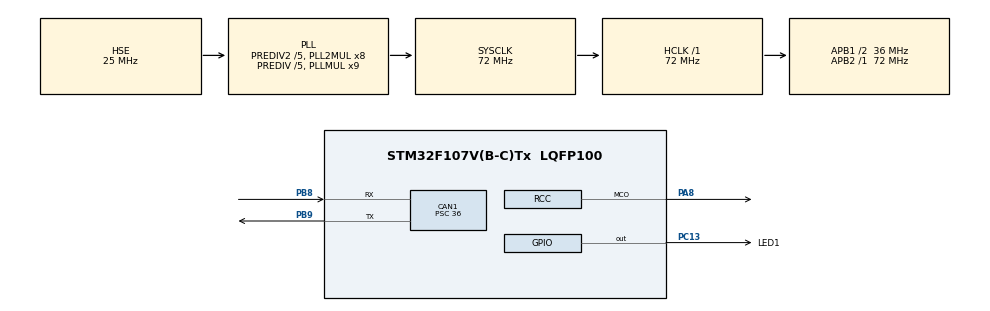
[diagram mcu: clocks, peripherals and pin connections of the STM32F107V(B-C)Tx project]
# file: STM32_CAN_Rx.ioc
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CAN1.BS1=CAN_BS1_6TQ
CAN1.CalculateBaudRate=125000
CAN1.CalculateTimeBit=8000
CAN1.CalculateTimeQuantum=1000.0
CAN1.Prescaler=36
Mcu.Family=STM32F1
Mcu.Name=STM32F107V(B-C)Tx
Mcu.Package=LQFP100
NVIC.CAN1_RX1_IRQn=true\:0\:0\:false\:false\:true\:true\:true\:true
NVIC.PriorityGroup=NVIC_PRIORITYGROUP_4
OSC_IN.Mode=HSE-External-Oscillator
OSC_IN.Signal=RCC_OSC_IN
OSC_OUT.Mode=HSE-External-Oscillator
OSC_OUT.Signal=RCC_OSC_OUT
PA13.Mode=JTAG_5_pins
PA13.Signal=SYS_JTMS-SWDIO
PA14.Mode=JTAG_5_pins
PA14.Signal=SYS_JTCK-SWCLK
PA15.Mode=JTAG_5_pins
PA15.Signal=SYS_JTDI
PA8.GPIO_Speed=GPIO_SPEED_FREQ_MEDIUM
PA8.Mode=Clock-out
PA8.Signal=RCC_MCO
PB3.Mode=JTAG_5_pins
PB3.Signal=SYS_JTDO
PB4.Mode=JTAG_5_pins
PB4.Signal=SYS_NJTRST
PB8.Mode=CAN_Activate
PB8.Signal=CAN1_RX
PB9.Mode=CAN_Activate
PB9.Signal=CAN1_TX
PC13-TAMPER-RTC.GPIO_Label=LED1
PC13-TAMPER-RTC.Signal=GPIO_Output
ProjectManager.HeapSize=0x200
ProjectManager.StackSize=0x400
ProjectManager.TargetToolchain=STM32CubeIDE
RCC.AHBFreq_Value=72000000
RCC.APB1CLKDivider=RCC_HCLK_DIV2
RCC.APB1Freq_Value=36000000
RCC.APB1TimFreq_Value=72000000
RCC.APB2Freq_Value=72000000
RCC.APB2TimFreq_Value=72000000
RCC.HCLKFreq_Value=72000000
RCC.HSEDivPLL=RCC_HSE_PREDIV_DIV5
RCC.HSE_VALUE=25000000
RCC.PLL3Mul=RCC_PLLI2S_MUL10
RCC.PLLMUL=RCC_PLL_MUL9
RCC.PLLSourceVirtual=RCC_PLLSOURCE_HSE
RCC.Prediv1Source=RCC_PREDIV1_SOURCE_PLL2
RCC.Prediv2=RCC_HSE_PREDIV2_DIV5
RCC.RCC_MCOSource=RCC_MCO1SOURCE_PLL3CLK
RCC.SYSCLKFreq_VALUE=72000000
RCC.SYSCLKSource=RCC_SYSCLKSOURCE_PLLCLK
RCC.USBFreq_Value=48000000
board=custom

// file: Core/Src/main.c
/* USER CODE BEGIN Header */
/**
  ******************************************************************************
  * @file           : main.c
  * @brief          : Main program body
  ******************************************************************************
  * @attention
  *
  * Copyright (c) 2024 STMicroelectronics.
  * All rights reserved.
  *
  * This software is licensed under terms that can be found in the LICENSE file
  * in the root directory of this software component.
  * If no LICENSE file comes with this software, it is provided AS-IS.
  *
  ******************************************************************************
  */
/* USER CODE END Header */
#include "main.h"

CAN_HandleTypeDef hcan1;

void SystemClock_Config(void);
static void MX_GPIO_Init(void);
static void MX_CAN1_Init(void);

/* USER CODE BEGIN 0 */
CAN_TxHeaderTypeDef TxHeader;
CAN_RxHeaderTypeDef RxHeader;

uint8_t TxData[8];
uint8_t RxData[8];

uint32_t TxMailbox;

int datacheck = 0;

void HAL_CAN_RxFifo1MsgPendingCallback(CAN_HandleTypeDef *hcan)
{
	HAL_CAN_GetRxMessage(hcan, CAN_RX_FIFO1, &RxHeader, RxData);
	if (RxHeader.DLC == 2)
	{
		datacheck = 1;
	}
}

/* USER CODE END 0 */

int main(void)
{

  /* MCU Configuration--------------------------------------------------------*/

  /* Reset of all peripherals, Initializes the Flash interface and the Systick. */
  HAL_Init();

  /* Configure the system clock */
  SystemClock_Config();

  /* Initialize all configured peripherals */
  MX_GPIO_Init();
  MX_CAN1_Init();
  /* USER CODE BEGIN 2 */

  HAL_CAN_Start(&hcan1);

  // Activate the notification
  HAL_CAN_ActivateNotification(&hcan1, CAN_IT_RX_FIFO1_MSG_PENDING);

  TxHeader.DLC = 2;  // data length
  TxHeader.IDE = CAN_ID_STD;
  TxHeader.RTR = CAN_RTR_DATA;
  TxHeader.StdId = 0x107;  // ID

  TxData[0] = 100;  // ms delay
  TxData[1] = 10;  // loop rep

  /* USER CODE END 2 */

  /* Infinite loop */
  while (1)
  {

    /* USER CODE BEGIN 3 */

	  HAL_Delay (1000);

	  if (datacheck)
	  {
		  // blink the LED
		  for (int i=0; i<RxData[1]; i++)
		  {
			  HAL_GPIO_TogglePin(GPIOC, GPIO_PIN_13);
			  HAL_Delay(RxData[0]);
		  }

		  datacheck = 0;

		  HAL_CAN_AddTxMessage(&hcan1, &TxHeader, TxData, &TxMailbox);

	  }
  }
  /* USER CODE END 3 */
}

void SystemClock_Config(void)
{
  RCC_OscInitTypeDef RCC_OscInitStruct = {0};
  RCC_ClkInitTypeDef RCC_ClkInitStruct = {0};

  /** Initializes the RCC Oscillators according to the specified parameters
  * in the RCC_OscInitTypeDef structure.
  */
  RCC_OscInitStruct.OscillatorType = RCC_OSCILLATORTYPE_HSE;
  RCC_OscInitStruct.HSEState = RCC_HSE_ON;
  RCC_OscInitStruct.HSEPredivValue = RCC_HSE_PREDIV_DIV5;
  RCC_OscInitStruct.HSIState = RCC_HSI_ON;
  RCC_OscInitStruct.Prediv1Source = RCC_PREDIV1_SOURCE_PLL2;
  RCC_OscInitStruct.PLL.PLLState = RCC_PLL_ON;
  RCC_OscInitStruct.PLL.PLLSource = RCC_PLLSOURCE_HSE;
  RCC_OscInitStruct.PLL.PLLMUL = RCC_PLL_MUL9;
  RCC_OscInitStruct.PLL2.PLL2State = RCC_PLL2_ON;
  RCC_OscInitStruct.PLL2.PLL2MUL = RCC_PLL2_MUL8;
  RCC_OscInitStruct.PLL2.HSEPrediv2Value = RCC_HSE_PREDIV2_DIV5;
  if (HAL_RCC_OscConfig(&RCC_OscInitStruct) != HAL_OK)
  {
    Error_Handler();
  }

  /** Initializes the CPU, AHB and APB buses clocks
  */
  RCC_ClkInitStruct.ClockType = RCC_CLOCKTYPE_HCLK|RCC_CLOCKTYPE_SYSCLK
                              |RCC_CLOCKTYPE_PCLK1|RCC_CLOCKTYPE_PCLK2;
  RCC_ClkInitStruct.SYSCLKSource = RCC_SYSCLKSOURCE_PLLCLK;
  RCC_ClkInitStruct.AHBCLKDivider = RCC_SYSCLK_DIV1;
  RCC_ClkInitStruct.APB1CLKDivider = RCC_HCLK_DIV2;
  RCC_ClkInitStruct.APB2CLKDivider = RCC_HCLK_DIV1;

  if (HAL_RCC_ClockConfig(&RCC_ClkInitStruct, FLASH_LATENCY_2) != HAL_OK)
  {
    Error_Handler();
  }
  HAL_RCC_MCOConfig(RCC_MCO, RCC_MCO1SOURCE_PLL3CLK, RCC_MCODIV_1);

  /** Configure the Systick interrupt time
  */
  __HAL_RCC_HSE_PREDIV2_CONFIG(RCC_HSE_PREDIV2_DIV5);

  /** Configure the Systick interrupt time
  */
  __HAL_RCC_PLLI2S_CONFIG(RCC_PLLI2S_MUL10);

  /** Configure the Systick interrupt time
  */
  __HAL_RCC_PLLI2S_ENABLE();
}

static void MX_CAN1_Init(void)
{

  hcan1.Instance = CAN1;
  hcan1.Init.Prescaler = 36;
  hcan1.Init.Mode = CAN_MODE_NORMAL;
  hcan1.Init.SyncJumpWidth = CAN_SJW_1TQ;
  hcan1.Init.TimeSeg1 = CAN_BS1_6TQ;
  hcan1.Init.TimeSeg2 = CAN_BS2_1TQ;
  hcan1.Init.TimeTriggeredMode = DISABLE;
  hcan1.Init.AutoBusOff = DISABLE;
  hcan1.Init.AutoWakeUp = DISABLE;
  hcan1.Init.AutoRetransmission = DISABLE;
  hcan1.Init.ReceiveFifoLocked = DISABLE;
  hcan1.Init.TransmitFifoPriority = DISABLE;
  if (HAL_CAN_Init(&hcan1) != HAL_OK)
  {
    Error_Handler();
  }
  /* USER CODE BEGIN CAN1_Init 2 */

  CAN_FilterTypeDef canfilterconfig;

  canfilterconfig.FilterActivation = CAN_FILTER_ENABLE;
  canfilterconfig.FilterBank = 18;  // which filter bank to use from the assigned ones
  canfilterconfig.FilterFIFOAssignment = CAN_FILTER_FIFO1;
  canfilterconfig.FilterIdHigh = 0x446<<5;
  canfilterconfig.FilterIdLow = 0;
  canfilterconfig.FilterMaskIdHigh = 0x446<<5;
  canfilterconfig.FilterMaskIdLow = 0x0000;
  canfilterconfig.FilterMode = CAN_FILTERMODE_IDMASK;
  canfilterconfig.FilterScale = CAN_FILTERSCALE_32BIT;
  canfilterconfig.SlaveStartFilterBank = 20;  // doesn't matter in single can controllers

  HAL_CAN_ConfigFilter(&hcan1, &canfilterconfig);
  /* USER CODE END CAN1_Init 2 */

}

static void MX_GPIO_Init(void)
{
  GPIO_InitTypeDef GPIO_InitStruct = {0};

  /* GPIO Ports Clock Enable */
  __HAL_RCC_GPIOC_CLK_ENABLE();
  __HAL_RCC_GPIOA_CLK_ENABLE();
  __HAL_RCC_GPIOB_CLK_ENABLE();

  /*Configure GPIO pin Output Level */
  HAL_GPIO_WritePin(LED1_GPIO_Port, LED1_Pin, GPIO_PIN_RESET);

  /*Configure GPIO pin : LED1_Pin */
  GPIO_InitStruct.Pin = LED1_Pin;
  GPIO_InitStruct.Mode = GPIO_MODE_OUTPUT_PP;
  GPIO_InitStruct.Pull = GPIO_NOPULL;
  GPIO_InitStruct.Speed = GPIO_SPEED_FREQ_LOW;
  HAL_GPIO_Init(LED1_GPIO_Port, &GPIO_InitStruct);

  /*Configure GPIO pin : PA8 */
  GPIO_InitStruct.Pin = GPIO_PIN_8;
  GPIO_InitStruct.Mode = GPIO_MODE_AF_PP;
  GPIO_InitStruct.Speed = GPIO_SPEED_FREQ_MEDIUM;
  HAL_GPIO_Init(GPIOA, &GPIO_InitStruct);

}

void Error_Handler(void)
{
  __disable_irq();
  while (1)
  {
  }
}
